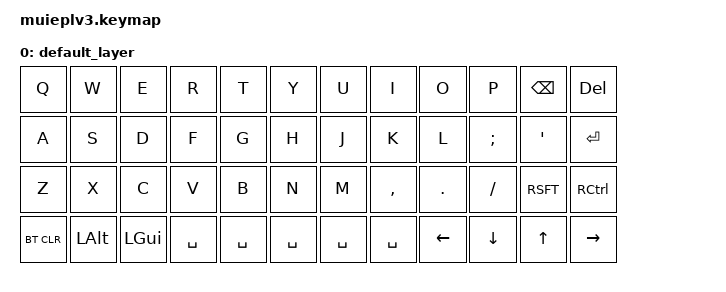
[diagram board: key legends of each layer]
#include <behaviors.dtsi>
#include <dt-bindings/zmk/keys.h>
#include <dt-bindings/zmk/bt.h>

/ {
    keymap {
        compatible = "zmk,keymap";

        default_layer {
            bindings = <
                &kp Q      &kp W      &kp E       &kp R      &kp T      &kp Y      &kp U      &kp I      &kp O      &kp P      &kp BSPC   &kp DEL
                &kp A      &kp S      &kp D       &kp F      &kp G      &kp H      &kp J      &kp K      &kp L      &kp SEMI   &kp SQT    &kp RET
                &kp Z      &kp X      &kp C       &kp V      &kp B      &kp N      &kp M      &kp COMMA  &kp DOT    &kp SLASH  &kp RSFT   &kp RCTRL
                &bt BT_CLR &kp LALT   &kp LGUI    &kp SPACE  &kp SPACE  &kp SPACE  &kp SPACE  &kp SPACE  &kp LEFT   &kp DOWN   &kp UP     &kp RIGHT
            >;
        };
    };
};
